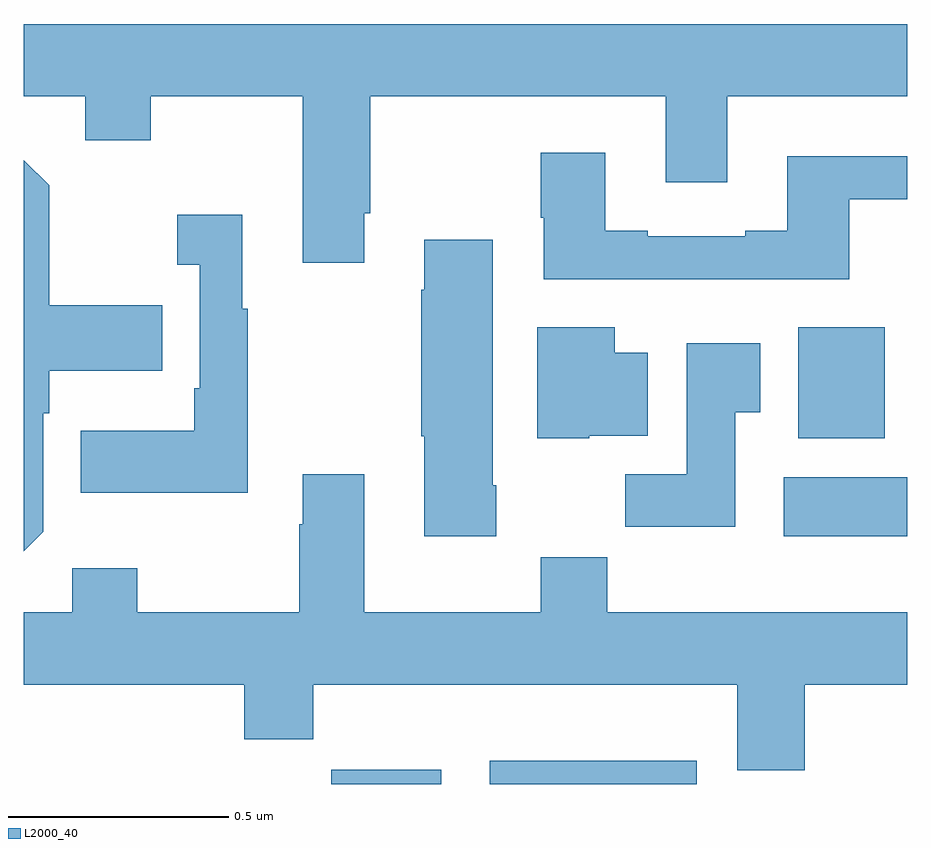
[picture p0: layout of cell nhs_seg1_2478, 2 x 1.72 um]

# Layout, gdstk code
import gdstk
lib = gdstk.Library(unit=1e-6, precision=1e-09)
def R(c, l, rs):  # rectangles x0, y0, x1, y1
    for r in rs: c.add(gdstk.rectangle(r[:2], r[2:], *l))
def P(c, l, *ps):  # polygons
    for p in ps: c.add(gdstk.Polygon(p, *l))
L2000_40 = (2000, 40)

nhs_seg1_2478 = lib.new_cell('nhs_seg1_2478')
R(nhs_seg1_2478, L2000_40, [(142.696,526.199,142.945,526.231), (143.055,526.199,143.524,526.252), (143.721,526.76,144,526.894), (143.753,526.982,143.949,527.233)])
P(nhs_seg1_2478, L2000_40, [(142.771,527.491),(142.784,527.491),(142.784,527.756),(143.453,527.756),(143.453,527.562),(143.593,527.562),(143.593,527.756),(144,527.756),(144,527.92),(142,527.92),(142,527.756),(142.139,527.756),(142.139,527.657),(142.287,527.657),(142.287,527.756),(142.631,527.756),(142.631,527.379),(142.771,527.379)],
  [(143.869,527.523),(144,527.523),(144,527.62),(143.729,527.62),(143.729,527.452),(143.633,527.452),(143.633,527.439),(143.413,527.439),(143.413,527.452),(143.317,527.452),(143.317,527.629),(143.17,527.629),(143.17,527.481),(143.177,527.481),(143.177,527.342),(143.869,527.342)],
  [(142.044,526.77),(142.044,527.039),(142.057,527.039),(142.057,527.135),(142.313,527.135),(142.313,527.283),(142.057,527.283),(142.057,527.555),(142,527.612),(142,526.726)],
  [(142.507,527.275),(142.495,527.275),(142.495,527.488),(142.347,527.488),(142.347,527.375),(142.398,527.375),(142.398,527.095),(142.386,527.095),(142.386,526.999),(142.129,526.999),(142.129,526.859),(142.507,526.859)],
  [(143.07,526.876),(143.062,526.876),(143.062,527.431),(142.907,527.431),(142.907,527.318),(142.9,527.318),(142.9,526.987),(142.907,526.987),(142.907,526.76),(143.07,526.76)],
  [(143.28,526.988),(143.413,526.988),(143.413,527.176),(143.338,527.176),(143.338,527.233),(143.162,527.233),(143.162,526.982),(143.28,526.982)],
  [(143.611,527.041),(143.668,527.041),(143.668,527.197),(143.501,527.197),(143.501,526.9),(143.362,526.9),(143.362,526.782),(143.611,526.782)],
  [(143.615,526.23),(143.768,526.23),(143.768,526.424),(144,526.424),(144,526.588),(143.321,526.588),(143.321,526.712),(143.17,526.712),(143.17,526.588),(142.771,526.588),(142.771,526.9),(142.631,526.9),(142.631,526.787),(142.624,526.787),(142.624,526.588),(142.257,526.588),(142.257,526.687),(142.11,526.687),(142.11,526.588),(142,526.588),(142,526.424),(142.499,526.424),(142.499,526.3),(142.655,526.3),(142.655,526.424),(143.615,526.424)])

lib.write_gds('nhs_seg1_2478.gds')
